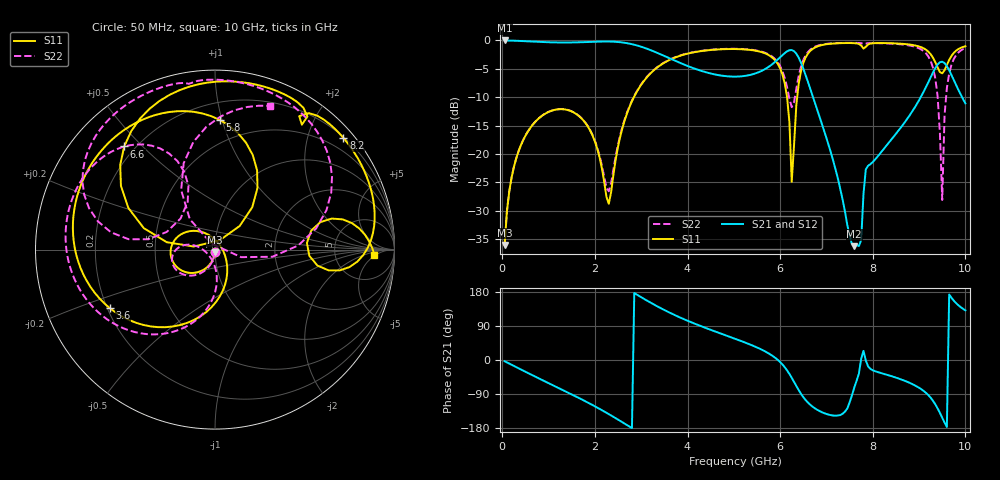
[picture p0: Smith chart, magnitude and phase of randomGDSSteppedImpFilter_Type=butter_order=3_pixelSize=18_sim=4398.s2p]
! freq	dB(S11)	phase(S11)	dB(S12)	phase(S12)
!  dB(S21)	phase(S21)	dB(S22)	phase(S22)
!S-par simulation data
#  GHz  S  DB  R 50
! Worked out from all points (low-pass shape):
!   200 points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, 50 MHz to 10 GHz, reference 50 ohm
!   highest |S21| = -0.01 dB at 50 MHz (marker M1); lowest = -36.2 dB at 7.6 GHz (marker M2)
!   |S21| within 3 dB of the highest: start of sweep to 3.574 GHz; 5.994 GHz to 6.399 GHz (404.4 MHz wide, 6.53 % of centre)
!   lowest |S11| = -36.0 dB at 50 MHz (marker M3), VSWR 1.03, Z = 49.9 - j1.58 ohm
!   |S11| at or under -10 dB: start of sweep to 2.842 GHz; 6.149 GHz to 6.368 GHz (218.9 MHz wide, 3.5 % of centre)
!   |S22| runs from -36.0 to -0.4 dB; largest |S21 - S12| = 0
!   S11 on the Smith chart (normalised r, x): 50 MHz: 1.00, -0.03; 3.6 GHz: 0.21, -0.25; 5.8 GHz: 0.33, +0.99; 6.6 GHz: 0.16, +0.44; 8.2 GHz: 0.22, +2.66; 10 GHz: 16, -4
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0.05  -36.01 -92.8  -0.01 -3.2  -0.01 -3.2  -36.01 -92.4
0.55  -16.07 -127.0  -0.16 -34.1  -0.16 -34.1  -16.06 -122.2
1.75  -14.07 152.1  -0.30 -106.1  -0.30 -106.1  -14.03 175.8
2.3  -28.75 27.9  -0.19 -142.8  -0.19 -142.8  -26.57 -135.1
2.7  -12.69 -79.1  -0.49 -172.2  -0.49 -172.2  -12.55 -89.8
3.4  -4.43 -137.2  -2.38 138.1  -2.38 138.1  -4.38 -128.7
3.6  -3.48 -150.8  -3.10 125.7  -3.10 125.7  -3.43 -139.5
5.05  -1.52 132.0  -6.37 55.0  -6.37 55.0  -1.47 159.4
5.8  -2.83 87.7  -4.37 13.8  -4.37 13.8  -2.69 127.1
6.1  -7.59 55.4  -2.22 -19.2  -2.22 -19.2  -6.64 111.5
6.25  -24.88 63.7  -1.70 -47.0  -1.70 -47.0  -11.75 137.8
6.4  -7.66 163.2  -3.03 -79.4  -3.03 -79.4  -6.27 173.1
6.6  -2.32 131.4  -7.29 -112.3  -7.29 -112.3  -2.04 157.2
6.7  -1.50 119.8  -9.74 -123.1  -9.74 -123.1  -1.33 149.1
7.6  -0.49 63.5  -36.22 -72.9  -36.22 -72.9  -0.43 106.2
8.2  -0.46 41.0  -19.49 -35.2  -19.49 -35.2  -0.50 84.7
8.35  -0.49 34.7  -17.97 -40.6  -17.97 -40.6  -0.55 78.9
9.3  -3.04 -9.5  -5.66 -107.6  -5.66 -107.6  -4.80 11.8
9.4  -4.76 -8.9  -4.25 -127.7  -4.25 -127.7  -9.84 -7.1
9.5  -5.79 4.2  -3.75 -152.4  -3.75 -152.4  -28.09 121.1
9.6  -4.32 14.6  -4.52 -176.7  -4.52 -176.7  -8.37 119.6
10  -1.03 -1.9  -11.09 130.9  -11.09 130.9  -1.34 69.1
